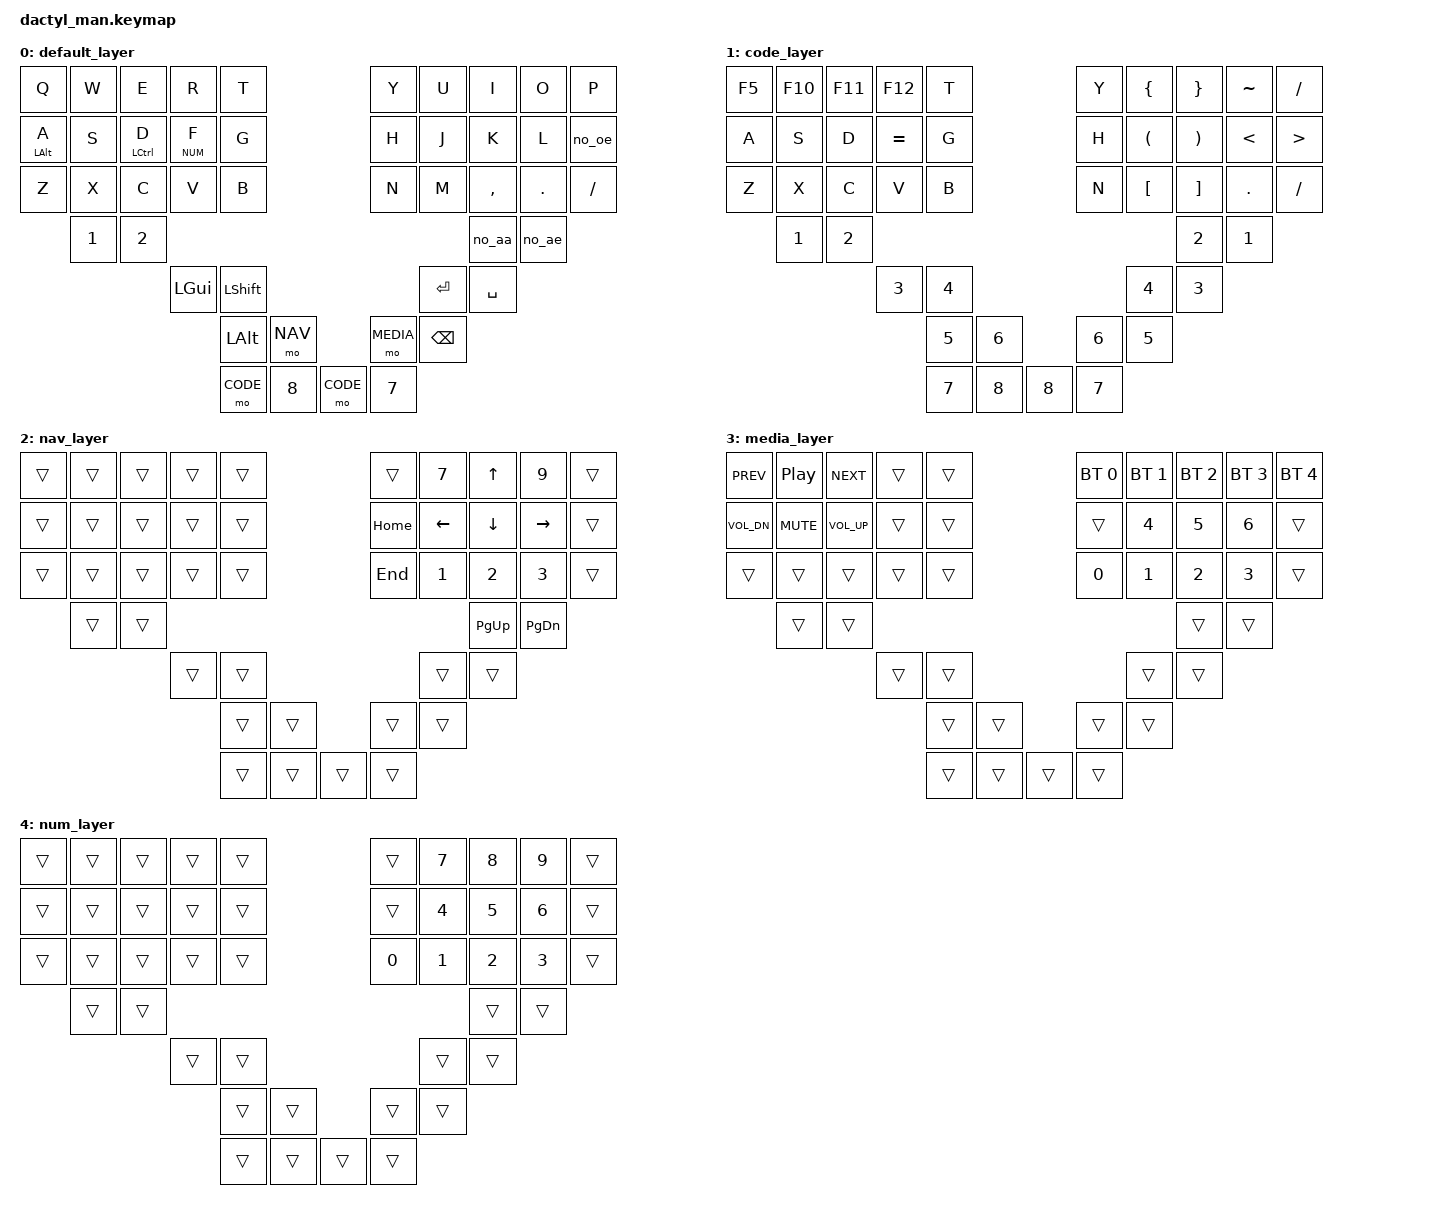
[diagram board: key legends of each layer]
#include <behaviors.dtsi>
#include <dt-bindings/zmk/keys.h>
#include <dt-bindings/zmk/bt.h>

#include "../zmk-nodefree-config/helper.h"
#include "../zmk-nodefree-config/international_chars/norwegian.dtsi"

#define DEFAULT 0
#define CODE 1
#define NAV 2
#define MEDIA 3
#define NUM 4


/ {
    keymap {
        compatible = "zmk,keymap";
                // -----------------------------------------------------------------------------------------
                // |  Q  |  W  |  E  |  R  |  T  |                              |  Y  |  U   |  I  |  O  |  P  |
                // |  A  |  S  |  D  |  F  |  G  |                              |  H  |  J   |  K  |  L  |  Ø  |
                // |  Z  |  X  |  C  |  V  |  B  |                              |  N  |  M   |  ,  |  .  |  /  |
                //       |  ?  |  ?  |                                                       |  Æ  |  Å  |
                //                   |  CMD  |  SHIFT  |                       |  ENT | SPC  |
                //                           |   LS    |  LALT  |       |  LS  |  BSPC |
                //                           |   LS    |  LS    |       |  LS  |   LS  |
        default_layer {
            bindings = <
                    &kp Q     &kp W    &kp E     &kp R     &kp T                                        &kp Y     &kp U     &kp I     &kp O     &kp P    
                    &mt LALT A     &kp S    &mt LCTRL D     &lt NUM F     &kp G                         &kp H     &kp J     &kp K     &kp L     &no_oe 
                    &kp Z     &kp X    &kp C     &kp V     &kp B                                        &kp N     &kp M     &kp COMMA &kp DOT   &kp FSLH
                              &kp N1   &kp N2                                                                               &no_aa    &no_ae
                                                 &kp LGUI     &kp LSHIFT                                        &kp RET     &kp SPACE
                                                            &kp LALT     &mo NAV                  &mo MEDIA     &kp BSPC
                                                            &mo CODE   &kp N8                  &mo CODE   &kp N7
            >;
        };
        code_layer {
            bindings = <
                    &kp F5     &kp F10    &kp F11     &kp F12     &kp T                                        &kp Y     &kp LEFT_BRACE     &kp RIGHT_BRACE     &kp TILDE     &kp FSLH    
                    &kp A     &kp S    &kp D     &kp EQUAL     &kp G                                        &kp H     &kp LEFT_PARENTHESIS     &kp RIGHT_PARENTHESIS     &kp LT     &kp GT 
                    &kp Z     &kp X    &kp C     &kp V     &kp B                                        &kp N     &kp LEFT_BRACKET     &kp RIGHT_BRACKET     &kp DOT   &kp FSLH
                              &kp N1   &kp N2                                                                                &kp N2    &kp N1
                                                 &kp N3     &kp N4                                        &kp N4     &kp N3
                                                            &kp N5     &kp N6                  &kp N6     &kp N5
                                                            &kp N7     &kp N8                  &kp N8     &kp N7
            >;
        };
        nav_layer {
            bindings = <
                    &trans     &trans    &trans     &trans     &trans                                 &trans     &kp N7    &kp UP     &kp N9     &trans
                    &trans     &trans    &trans     &trans     &trans                                 &kp HOME     &kp LEFT    &kp DOWN     &kp RIGHT     &trans
                    &trans     &trans    &trans     &trans     &trans                                 &kp END     &kp N1    &kp N2     &kp N3     &trans
                              &trans     &trans                                                                           &kp PG_UP     &kp PG_DN
                                                 &trans     &trans                                        &trans     &trans
                                                            &trans     &trans                  &trans     &trans
                                                            &trans     &trans                  &trans     &trans
            >;
        };
        media_layer {
            bindings = <
                    &kp C_PREV     &kp C_PLAY_PAUSE    &kp C_NEXT     &trans     &trans                                 &bt BT_SEL 0     &bt BT_SEL 1    &bt BT_SEL 2     &bt BT_SEL 3     &bt BT_SEL 4
                    &kp C_VOL_DN     &kp C_MUTE    &kp C_VOL_UP     &trans     &trans                                 &trans     &kp N4    &kp N5     &kp N6     &trans
                    &trans     &trans    &trans     &trans     &trans                                 &kp N0     &kp N1    &kp N2     &kp N3     &trans
                              &trans     &trans                                                                           &trans     &trans
                                                 &trans     &trans                                        &trans     &trans
                                                            &trans     &trans                  &trans     &trans
                                                            &trans     &trans                  &trans     &trans
            >;
        };
        num_layer {
            bindings = <
                    &trans     &trans    &trans     &trans     &trans                                 &trans     &kp N7    &kp N8     &kp N9     &trans
                    &trans     &trans    &trans     &trans     &trans                                 &trans     &kp N4    &kp N5     &kp N6     &trans
                    &trans     &trans    &trans     &trans     &trans                                 &kp N0     &kp N1    &kp N2     &kp N3     &trans
                              &trans     &trans                                                                           &trans     &trans
                                                 &trans     &trans                                        &trans     &trans
                                                            &trans     &trans                  &trans     &trans
                                                            &trans     &trans                  &trans     &trans
            >;
        };
        
    };
};
